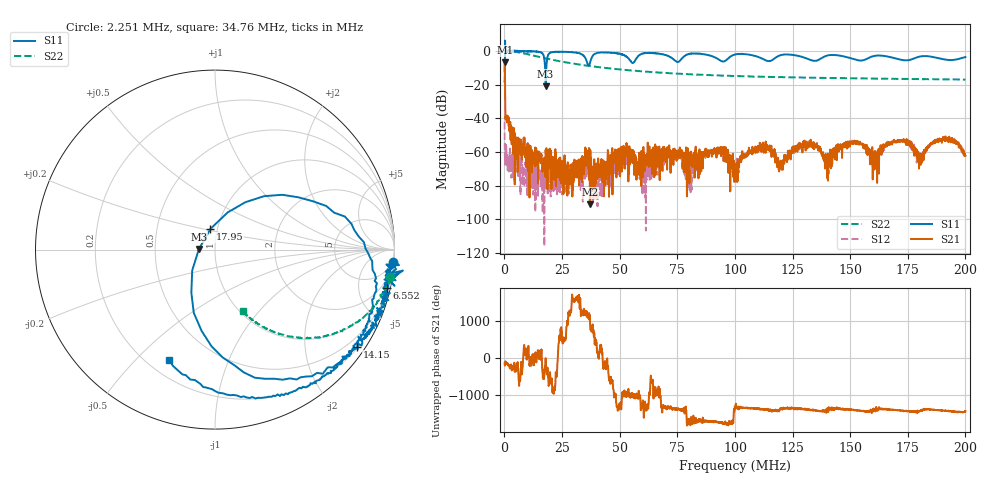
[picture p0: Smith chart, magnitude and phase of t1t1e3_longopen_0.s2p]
! 27-Aug-26 2:14:09 PM
! E:\20260827_VNA\T1T1E3_LONGOPEN_0.S2P
! CHANNEL.1
! TR.MEASUREMENT
! CORRECTED.DATA
# GHZ S RI R 50.0
! FREQ.GHZ  S11RE  S11IM  S21RE  S21IM  S12RE  S12IM  S22RE  S22IM
!; PortSelection: Port_12
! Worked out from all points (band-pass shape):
!   2000 points, 50 kHz to 200 MHz, reference 50 ohm
!   highest |S21| = -6.72 dB at 150 kHz (marker M1); lowest = -91.0 dB at 37.06 MHz (marker M2)
!   |S21| within 3 dB of the highest: 93.4 kHz to 171.5 kHz (78.14 kHz wide, 59 % of centre)
!   lowest |S11| = -21.0 dB at 17.85 MHz (marker M3), VSWR 1.20, Z = 41.8 + j0.345 ohm
!   |S11| at or under -10 dB: start of sweep to 171.5 kHz; 17.61 MHz to 18.16 MHz (551.2 kHz wide, 3.08 % of centre)
!   |S22| runs from -17.0 to 0.8 dB; largest |S21 - S12| = 0.46
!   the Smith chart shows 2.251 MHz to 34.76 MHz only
!   S11 on the Smith chart (normalised r, x): 2.251 MHz: 2, -29; 6.552 MHz: 0.77, -9.08; 14.15 MHz: 0.25, -3.21; 17.95 MHz: 0.93, +0.22; 34.76 MHz: 0.29, -0.63
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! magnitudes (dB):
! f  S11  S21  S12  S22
! 50 kHz  -18.2  -12.0  -42.3  0.8
! 150 kHz  -14.4  -6.7  -61.4  0.0
! 2.251 MHz  0.0  -46.8  -61.5  -0.1
! 6.552 MHz  -0.2  -56.3  -65.1  -0.9
! 14.15 MHz  -0.4  -60.2  -69.9  -3.2
! 17.85 MHz  -21.0  -58.7  -74.3  -4.4
! 17.95 MHz  -18.5  -61.4  -76.1  -4.4
! 33.46 MHz  -1.9  -65.4  -66.3  -8.2
! 34.76 MHz  -3.5  -64.3  -68.1  -8.5
! 37.06 MHz  -7.1  -91.0  -71.1  -8.9
! 66.77 MHz  -1.5  -57.0  -61.7  -12.8
! 80.27 MHz  -1.7  -78.6  -65.0  -13.8
! 93.27 MHz  -5.3  -58.1  -59.1  -14.5
! 100.1 MHz  -2.1  -68.0  -70.4  -14.9
! 111.2 MHz  -4.1  -57.3  -57.7  -15.3
! 119.9 MHz  -2.4  -65.1  -69.6  -15.5
! 133.4 MHz  -5.6  -56.8  -56.3  -15.8
! 140.1 MHz  -2.7  -70.4  -63.3  -16.0
! 147.6 MHz  -3.3  -54.6  -54.0  -16.1
! 160.8 MHz  -2.8  -59.3  -63.5  -16.4
! 166.7 MHz  -3.4  -54.8  -54.9  -16.5
! 200 MHz  -3.6  -62.3  -62.3  -17.0
